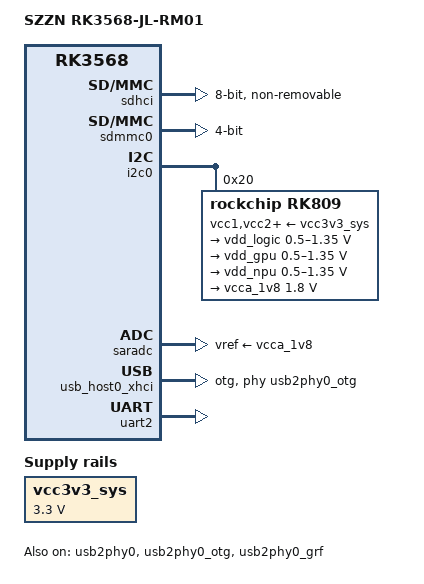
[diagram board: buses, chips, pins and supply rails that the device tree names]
// SPDX-License-Identifier: (GPL-2.0+ OR MIT)
/*
 * Minimal U-Boot device tree for the SZZN RK3568-JL-RM01 (RZW03) board.
 * Linux runtime peripherals remain described by the BSP kernel DT.
 */

/dts-v1/;
#include "rk356x.dtsi"

/ {
	model = "SZZN RK3568-JL-RM01";
	compatible = "rockchip,rk3568-rzw03", "rockchip,rk3568";

	vcc3v3_sys: vcc3v3-sys-regulator {
		compatible = "regulator-fixed";
		regulator-name = "vcc3v3_sys";
		regulator-min-microvolt = <3300000>;
		regulator-max-microvolt = <3300000>;
		regulator-always-on;
		regulator-boot-on;
	};

	aliases {
		mmc0 = &sdhci;
		mmc1 = &sdmmc0;
	};

	chosen {
		stdout-path = "serial2:1500000n8";
	};
};

&sdhci {
	bus-width = <8>;
	cap-mmc-highspeed;
	mmc-hs200-1_8v;
	no-sd;
	no-sdio;
	non-removable;
	pinctrl-names = "default";
	pinctrl-0 = <&emmc_bus8 &emmc_clk &emmc_cmd &emmc_datastrobe>;
	status = "okay";
};

&sdmmc0 {
	bus-width = <4>;
	cap-sd-highspeed;
	disable-wp;
	no-mmc;
	no-sdio;
	pinctrl-names = "default";
	pinctrl-0 = <&sdmmc0_bus4 &sdmmc0_clk &sdmmc0_cmd &sdmmc0_det>;
	status = "okay";
};

/* RK809 supplies the logic, GPU and NPU power rails on RM01. */
&i2c0 {
	status = "okay";

	rk809: pmic@20 {
		compatible = "rockchip,rk809";
		reg = <0x20>;
		rockchip,system-power-controller;
		wakeup-source;
		vcc1-supply = <&vcc3v3_sys>;
		vcc2-supply = <&vcc3v3_sys>;
		vcc3-supply = <&vcc3v3_sys>;
		vcc4-supply = <&vcc3v3_sys>;
		vcc5-supply = <&vcc3v3_sys>;
		vcc6-supply = <&vcc3v3_sys>;
		vcc7-supply = <&vcc3v3_sys>;
		vcc8-supply = <&vcc3v3_sys>;
		vcc9-supply = <&vcc3v3_sys>;

		regulators {
			vdd_logic: DCDC_REG1 {
				regulator-name = "vdd_logic";
				regulator-always-on;
				regulator-boot-on;
				regulator-init-microvolt = <900000>;
				regulator-min-microvolt = <500000>;
				regulator-max-microvolt = <1350000>;
				regulator-ramp-delay = <6001>;
				regulator-initial-mode = <2>;
			};

			vdd_gpu: DCDC_REG2 {
				regulator-name = "vdd_gpu";
				regulator-always-on;
				regulator-boot-on;
				regulator-init-microvolt = <900000>;
				regulator-min-microvolt = <500000>;
				regulator-max-microvolt = <1350000>;
				regulator-ramp-delay = <6001>;
				regulator-initial-mode = <2>;
			};

			vdd_npu: DCDC_REG4 {
				regulator-name = "vdd_npu";
				regulator-always-on;
				regulator-boot-on;
				regulator-init-microvolt = <900000>;
				regulator-min-microvolt = <500000>;
				regulator-max-microvolt = <1350000>;
				regulator-ramp-delay = <6001>;
				regulator-initial-mode = <2>;
			};

			vcca_1v8: LDO_REG7 {
				regulator-name = "vcca_1v8";
				regulator-always-on;
				regulator-boot-on;
				regulator-min-microvolt = <1800000>;
				regulator-max-microvolt = <1800000>;
			};
		};
	};
};

/* Recovery is an active-low resistor key on SARADC channel 0. */
&saradc {
	vref-supply = <&vcca_1v8>;
	status = "okay";
};

/* USB0 is the RK3568 device-mode controller used by RockUSB. */
&usb_host0_xhci {
	dr_mode = "otg";
	extcon = <&usb2phy0>;
	maximum-speed = "high-speed";
	phys = <&usb2phy0_otg>;
	phy-names = "usb2-phy";
	snps,dis_enblslpm_quirk;
	snps,dis-u2-freeclk-exists-quirk;
	snps,dis_u2_susphy_quirk;
	snps,dis-del-phy-power-chg-quirk;
	snps,dis-tx-ipgap-linecheck-quirk;
	snps,xhci-trb-ent-quirk;
	status = "okay";
};

&usb2phy0 {
	status = "okay";
};

&usb2phy0_otg {
	status = "okay";
};

&usb2phy0_grf {
	status = "okay";
};

&uart2 {
	status = "okay";
};
